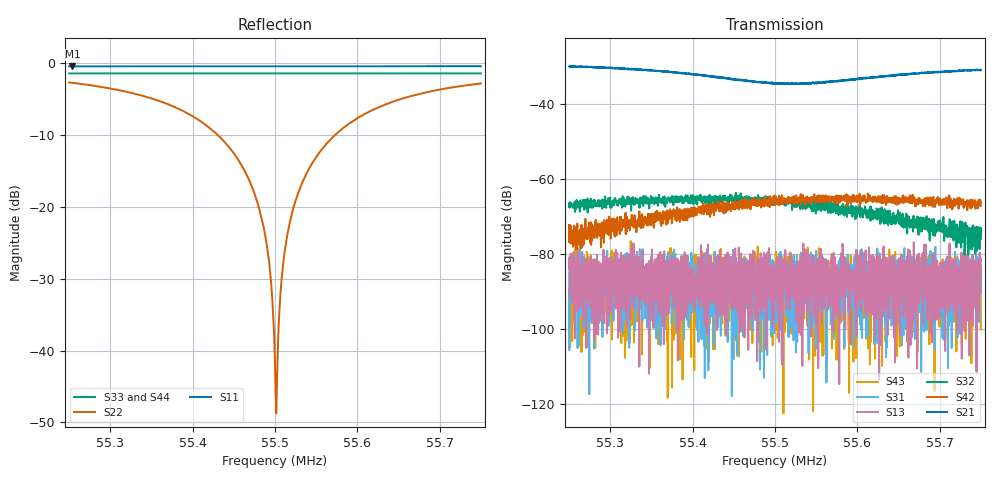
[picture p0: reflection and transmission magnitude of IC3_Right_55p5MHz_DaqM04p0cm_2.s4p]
#  HZ  S  DB  R  50.00
! Rohde & Schwarz Vector Network Analyzer
! Rohde-Schwarz,ZNB8-4Port,1311601044102961,2.82
! Created: UTC 2/13/2019, 1:34:59 PM
! freq[Hz]  db:S11  ang:S11  db:S12  ang:S12  db:S13  ang:S13  db:S14  ang:S14
!  db:S21  ang:S21  db:S22  ang:S22  db:S23  ang:S23  db:S24  ang:S24
!  db:S31  ang:S31  db:S32  ang:S32  db:S33  ang:S33  db:S34  ang:S34
!  db:S41  ang:S41  db:S42  ang:S42  db:S43  ang:S43  db:S44  ang:S44
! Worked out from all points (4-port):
!   2001 points, 55.25 MHz to 55.75 MHz, reference 50 ohm
!   strongest paths, dB at 55.25 MHz, 55.375 MHz, 55.5 MHz, 55.625 MHz, 55.75 MHz:
!     S21: -29.9, -31.4, -34.4, -32.7, -30.8
!     S42: -72.1, -71.6, -65.1, -64.5, -67.0
!     S32: -67.3, -64.7, -65.5, -69.8, -75.8
!     S13: -81.4, -80.5, -86.1, -83.3, -81.2
!     S31: -84.7, -92.8, -82.5, -98.8, -90.4
!     S43: -96.5, -115.6, -82.1, -82.4, -100.0
!   lowest |S11| = -0.4 dB at 55.254 MHz (marker M1), VSWR 40.03, Z = 2.21 + j43.9 ohm
!   |S11| at or under -10 dB: nowhere
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5.525e7  -0.43 97.5  -29.85 70.0  -81.45 -6.6  -80.59 149.0
         -29.85 69.5  -2.67 -145.6  -66.79 -167.0  -78.00 -11.4
         -84.69 64.8  -67.32 -157.8  -1.41 24.7  -86.20 33.6
         -91.82 5.2  -72.13 12.6  -96.51 85.0  -1.44 31.2
5.5254e7  -0.43 97.4  -29.84 69.6  -82.85 -156.9  -92.57 -148.4
          -29.93 69.9  -2.72 -146.2  -66.60 -160.3  -76.30 -11.7
          -89.23 -23.4  -66.77 -153.4  -1.41 24.7  -84.90 -157.2
          -87.17 141.7  -74.77 -9.7  -91.68 91.6  -1.44 31.1
5.54515e7  -0.41 93.7  -33.28 61.7  -80.11 52.5  -89.71 -141.2
           -33.29 60.9  -12.76 165.3  -66.68 164.1  -66.67 -47.1
           -90.06 -161.0  -64.63 157.5  -1.40 22.2  -100.49 -104.2
           -87.22 -11.4  -66.40 -38.7  -83.00 8.6  -1.42 28.7
5.548725e7  -0.41 93.1  -34.18 66.9  -89.76 103.5  -90.93 -38.5
            -34.11 67.5  -23.45 155.6  -65.30 145.5  -65.94 -64.4
            -84.44 8.5  -66.19 142.0  -1.41 21.7  -92.68 -177.0
            -86.19 5.1  -66.05 -56.6  -83.27 -132.3  -1.42 28.2
5.550125e7  -0.41 92.8  -34.37 68.6  -83.20 -63.4  -81.28 -166.0
            -34.45 70.1  -47.88 -131.5  -65.63 142.5  -64.71 -58.7
            -88.39 -106.2  -65.29 136.6  -1.40 21.6  -83.92 -104.0
            -80.60 108.9  -65.42 -56.4  -89.09 -60.7  -1.42 28.1
5.555225e7  -0.41 91.9  -34.26 80.9  -92.13 -68.2  -88.22 -123.5
            -34.12 80.3  -12.70 -51.3  -69.24 118.1  -63.94 -71.5
            -84.10 58.3  -67.67 123.0  -1.41 20.9  -89.44 50.8
            -87.82 -175.1  -64.71 -77.4  -85.45 44.8  -1.42 27.5
5.575e7  -0.41 88.3  -30.77 82.3  -81.18 -16.3  -90.00 -69.3
         -30.79 82.1  -2.81 -99.3  -77.52 90.3  -65.94 -117.4
         -90.37 169.3  -75.85 103.4  -1.40 18.4  -93.36 140.8
         -88.37 169.2  -67.05 -110.3  -99.99 -137.8  -1.42 25.0
